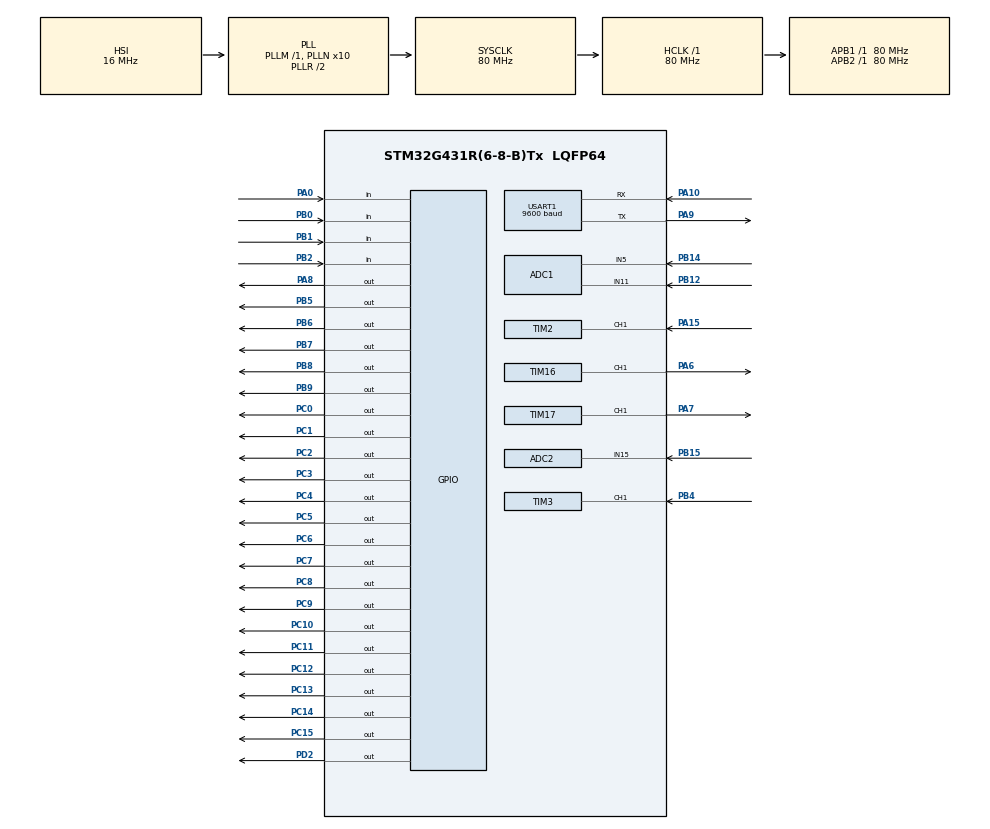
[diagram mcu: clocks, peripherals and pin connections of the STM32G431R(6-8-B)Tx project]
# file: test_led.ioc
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ADC1.Channel-0\#ChannelRegularConversion=ADC_CHANNEL_5
ADC1.Channel-1\#ChannelRegularConversion=ADC_CHANNEL_11
ADC1.NbrOfConversion=2
ADC1.NbrOfConversionFlag=1
ADC1.OffsetNumber-0\#ChannelRegularConversion=ADC_OFFSET_NONE
ADC1.OffsetNumber-1\#ChannelRegularConversion=ADC_OFFSET_NONE
ADC1.Rank-0\#ChannelRegularConversion=1
ADC1.Rank-1\#ChannelRegularConversion=2
ADC1.SamplingTime-0\#ChannelRegularConversion=ADC_SAMPLETIME_640CYCLES_5
ADC1.SamplingTime-1\#ChannelRegularConversion=ADC_SAMPLETIME_640CYCLES_5
ADC1.master=1
ADC2.Channel-0\#ChannelRegularConversion=ADC_CHANNEL_15
ADC2.NbrOfConversionFlag=1
ADC2.OffsetNumber-0\#ChannelRegularConversion=ADC_OFFSET_NONE
ADC2.Rank-0\#ChannelRegularConversion=1
ADC2.SamplingTime-0\#ChannelRegularConversion=ADC_SAMPLETIME_2CYCLES_5
Mcu.Family=STM32G4
Mcu.Name=STM32G431R(6-8-B)Tx
Mcu.Package=LQFP64
NVIC.PriorityGroup=NVIC_PRIORITYGROUP_4
NVIC.TIM2_IRQn=true\:2\:0\:true\:false\:true\:true\:true\:true
NVIC.TIM3_IRQn=true\:2\:0\:true\:false\:true\:true\:true\:true
NVIC.TIM6_DAC_IRQn=true\:5\:0\:true\:false\:true\:true\:true\:true
NVIC.USART1_IRQn=true\:1\:0\:true\:false\:true\:true\:true\:true
PA0.GPIO_PuPd=GPIO_PULLUP
PA0.Signal=GPIO_Input
PA10.Mode=Asynchronous
PA10.Signal=USART1_RX
PA13.Mode=Serial_Wire
PA13.Signal=SYS_JTMS-SWDIO
PA14.Mode=Serial_Wire
PA14.Signal=SYS_JTCK-SWCLK
PA15.GPIO_PuPd=GPIO_PULLDOWN
PA15.Signal=S_TIM2_CH1
PA6.Signal=S_TIM16_CH1
PA7.Signal=S_TIM17_CH1
PA8.Signal=GPIO_Output
PA9.Mode=Asynchronous
PA9.Signal=USART1_TX
PB0.GPIO_PuPd=GPIO_PULLUP
PB0.Signal=GPIO_Input
PB1.GPIO_PuPd=GPIO_PULLUP
PB1.Signal=GPIO_Input
PB12.Mode=IN11-Single-Ended
PB12.Signal=ADC1_IN11
PB14.Mode=IN5-Single-Ended
PB14.Signal=ADC1_IN5
PB15.Mode=IN15-Single-Ended
PB15.Signal=ADC2_IN15
PB2.GPIO_PuPd=GPIO_PULLUP
PB2.Signal=GPIO_Input
PB4.Signal=S_TIM3_CH1
PB5.Signal=GPIO_Output
PB6.Signal=GPIO_Output
PB7.Signal=GPIO_Output
PB8-BOOT0.Signal=GPIO_Output
PB9.Signal=GPIO_Output
PC0.Signal=GPIO_Output
PC1.Signal=GPIO_Output
PC10.GPIO_PuPd=GPIO_NOPULL
PC10.PinState=GPIO_PIN_SET
PC10.Signal=GPIO_Output
PC11.GPIO_PuPd=GPIO_NOPULL
PC11.PinState=GPIO_PIN_SET
PC11.Signal=GPIO_Output
PC12.GPIO_PuPd=GPIO_NOPULL
PC12.PinState=GPIO_PIN_SET
PC12.Signal=GPIO_Output
PC13.GPIO_PuPd=GPIO_NOPULL
PC13.PinState=GPIO_PIN_SET
PC13.Signal=GPIO_Output
PC14-OSC32_IN.GPIO_PuPd=GPIO_NOPULL
PC14-OSC32_IN.PinState=GPIO_PIN_SET
PC14-OSC32_IN.Signal=GPIO_Output
PC15-OSC32_OUT.GPIO_PuPd=GPIO_NOPULL
PC15-OSC32_OUT.PinState=GPIO_PIN_SET
PC15-OSC32_OUT.Signal=GPIO_Output
PC2.Signal=GPIO_Output
PC3.Signal=GPIO_Output
PC4.Signal=GPIO_Output
PC5.Signal=GPIO_Output
PC6.Signal=GPIO_Output
PC7.Signal=GPIO_Output
PC8.GPIO_PuPd=GPIO_NOPULL
PC8.PinState=GPIO_PIN_SET
PC8.Signal=GPIO_Output
PC9.GPIO_PuPd=GPIO_NOPULL
PC9.PinState=GPIO_PIN_SET
PC9.Signal=GPIO_Output
PD2.GPIO_PuPd=GPIO_NOPULL
PD2.Signal=GPIO_Output
PF0-OSC_IN.Mode=HSE-External-Oscillator
PF0-OSC_IN.Signal=RCC_OSC_IN
PF1-OSC_OUT.Mode=HSE-External-Oscillator
PF1-OSC_OUT.Signal=RCC_OSC_OUT
ProjectManager.HeapSize=0x200
ProjectManager.StackSize=0x400
ProjectManager.TargetToolchain=MDK-ARM V5.32
RCC.ADC12Freq_Value=80000000
RCC.AHBFreq_Value=80000000
RCC.APB1Freq_Value=80000000
RCC.APB1TimFreq_Value=80000000
RCC.APB2Freq_Value=80000000
RCC.APB2TimFreq_Value=80000000
RCC.CortexFreq_Value=80000000
RCC.EXTERNAL_CLOCK_VALUE=12288000
RCC.HCLKFreq_Value=80000000
RCC.HSE_VALUE=24000000
RCC.HSI48_VALUE=48000000
RCC.HSI_VALUE=16000000
RCC.LSE_VALUE=32768
RCC.PLLN=10
RCC.SYSCLKFreq_VALUE=80000000
RCC.SYSCLKSource=RCC_SYSCLKSOURCE_PLLCLK
RCC.USBFreq_Value=80000000
RCC.VCOOutputFreq_Value=160000000
RTC.AsynchPrediv=40-1
RTC.Date=26
RTC.Hours=17
RTC.Month=RTC_MONTH_FEBRUARY
RTC.SynchPrediv=1000-1
RTC.Year=24
SH.S_TIM16_CH1.0=TIM16_CH1,PWM Generation1 CH1
SH.S_TIM17_CH1.0=TIM17_CH1,PWM Generation1 CH1
SH.S_TIM2_CH1.0=TIM2_CH1,Input_Capture1_from_TI1
SH.S_TIM2_CH1.1=TIM2_CH1
SH.S_TIM3_CH1.0=TIM3_CH1,Input_Capture1_from_TI1
SH.S_TIM3_CH1.1=TIM3_CH1
TIM16.Channel=TIM_CHANNEL_1
TIM16.PeriodNoDither=100-1
TIM16.Prescaler=8000-1
TIM17.Channel=TIM_CHANNEL_1
TIM17.PeriodNoDither=100-1
TIM17.Prescaler=4000-1
TIM2.AutoReloadPreload=TIM_AUTORELOAD_PRELOAD_ENABLE
TIM2.Channel-Input_Capture1_from_TI1=TIM_CHANNEL_1
TIM2.Channel-Input_Capture2_from_TI1_63=TIM_CHANNEL_2
TIM2.ICPolarity_CH2=TIM_INPUTCHANNELPOLARITY_FALLING
TIM2.PeriodNoDither=0xffffffff
TIM2.Prescaler=80-1
TIM3.AutoReloadPreload=TIM_AUTORELOAD_PRELOAD_ENABLE
TIM3.Channel-Input_Capture1_from_TI1=TIM_CHANNEL_1
TIM3.Channel-Input_Capture2_from_TI1_63=TIM_CHANNEL_2
TIM3.ICPolarity_CH2=TIM_INPUTCHANNELPOLARITY_FALLING
TIM3.PeriodNoDither=0xffff
TIM3.Prescaler=80-1
TIM6.PeriodNoDither=10000-1
TIM6.Prescaler=80-1
USART1.BaudRate=9600
USART1.VirtualMode-Asynchronous=VM_ASYNC
VP_RTC_VS_RTC_Activate.Mode=RTC_Enabled
VP_RTC_VS_RTC_Calendar.Mode=RTC_Calendar
VP_SYS_VS_DBSignals.Mode=DisableDeadBatterySignals
VP_TIM16_VS_ClockSourceINT.Mode=Enable_Timer
VP_TIM17_VS_ClockSourceINT.Mode=Enable_Timer
VP_TIM2_VS_ClockSourceINT.Mode=Internal
VP_TIM2_VS_indirect_ch1.Mode=Input_Capture2_from_TI1_63
VP_TIM3_VS_ClockSourceINT.Mode=Internal
VP_TIM3_VS_indirect_ch1.Mode=Input_Capture2_from_TI1_63
VP_TIM6_VS_ClockSourceINT.Mode=Enable_Timer
board=custom

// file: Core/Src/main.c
/* USER CODE BEGIN Header */
/**
 ******************************************************************************
 * @file           : main.c
 * @brief          : Main program body
 ******************************************************************************
 * @attention
 *
 * Copyright (c) 2023 STMicroelectronics.
 * All rights reserved.
 *
 * This software is licensed under terms that can be found in the LICENSE file
 * in the root directory of this software component.
 * If no LICENSE file comes with this software, it is provided AS-IS.
 *
 ******************************************************************************
 */
/* USER CODE END Header */
#include "main.h"
#include "adc.h"
#include "rtc.h"
#include "tim.h"
#include "usart.h"
#include "gpio.h"

/* USER CODE BEGIN Includes */
#include "led.h"
#include "lcd.h"
#include "stdio.h"
#include "interrupt.h"
#include "bsp_adc.h"
#include "i2c_hal.h"
#include "string.h"
/* USER CODE END Includes */

/* USER CODE BEGIN PV */
RTC_TimeTypeDef s_time;
RTC_DateTypeDef s_date;

uint32_t i_text = 5;
char view_flag = 0;
uint8_t resist_val = 0;

// pwm占空比
uint8_t pa6_duty = 10;
uint8_t pa7_duty = 10;

struct car car[1];
/* USER CODE END PV */

void SystemClock_Config(void);
/* USER CODE BEGIN PFP */
void key_process();
void disp_process();
void data_tx();
void data_rx();
void rtc_process();
void adc_process();
/* USER CODE END PFP */

int main(void)
{

  /* MCU Configuration--------------------------------------------------------*/

  /* Reset of all peripherals, Initializes the Flash interface and the Systick. */
  HAL_Init();

  /* Configure the system clock */
  SystemClock_Config();

  /* Initialize all configured peripherals */
  MX_GPIO_Init();
  MX_TIM3_Init();
  MX_TIM16_Init();
  MX_TIM17_Init();
  MX_TIM2_Init();
  MX_TIM6_Init();
  MX_ADC1_Init();
  MX_ADC2_Init();
  MX_USART1_UART_Init();
  MX_RTC_Init();
  /* USER CODE BEGIN 2 */

  HAL_ADCEx_Calibration_Start(&hadc1, ADC_SINGLE_ENDED);
  HAL_ADCEx_Calibration_Start(&hadc2, ADC_SINGLE_ENDED);

  led_disp(0x00); // led初始化
  LCD_Init();     // lcd屏幕初始化

  // 清除LCD屏幕上的内容
  LCD_Clear(Black);
  // 设置LCD屏幕上的背景颜色
  LCD_SetBackColor(Black);
  // 设置LCD屏幕上的文字颜色
  LCD_SetTextColor(White);

  // 使能定时器中断
  HAL_TIM_Base_Start_IT(&htim6);
  // 使能定时器PWM输出
  HAL_TIM_PWM_Start(&htim16, TIM_CHANNEL_1);
  HAL_TIM_PWM_Start(&htim17, TIM_CHANNEL_1);
  // 使能定时器输入捕获中断
  HAL_TIM_IC_Start_IT(&htim2, TIM_CHANNEL_1);
  HAL_TIM_IC_Start_IT(&htim3, TIM_CHANNEL_1);
  // 使能串口接收中断
  HAL_UART_Receive_IT(&huart1, &rx_buffer, 1);

  mcp4017_write(0x0d);
  /* USER CODE END 2 */

  /* Infinite loop */
  while (1)
  {

    /* USER CODE BEGIN 3 */

    key_process();
    disp_process();
    rtc_process();
    __HAL_TIM_SET_COMPARE(&htim16, TIM_CHANNEL_1, pa6_duty);
    __HAL_TIM_SET_COMPARE(&htim17, TIM_CHANNEL_1, pa7_duty);

    // data_tx();
    if (rx_ptr != 0)
    {
      uint8_t temp = rx_ptr;
      HAL_Delay(1);
      if (temp == rx_ptr)
      {
        data_rx();
      }
    }

    //   uint8_t led_values[] = {0x01, 0x02, 0x04, 0x08, 0x10, 0x20, 0x40, 0x80};
    //   // 遍历led_values数组，将每一个值传入led_disp函数，每次循环延迟500ms
    //   for (int i = 0; i < 8; i++)
    //   {
    //     led_disp(led_values[i]);
    //     HAL_Delay(500);
    //     led_disp(0x00);
    //     HAL_Delay(500);
    //   }
  }
  /* USER CODE END 3 */
}

void SystemClock_Config(void)
{
  RCC_OscInitTypeDef RCC_OscInitStruct = {0};
  RCC_ClkInitTypeDef RCC_ClkInitStruct = {0};

  /** Configure the main internal regulator output voltage
   */
  HAL_PWREx_ControlVoltageScaling(PWR_REGULATOR_VOLTAGE_SCALE1);

  /** Initializes the RCC Oscillators according to the specified parameters
   * in the RCC_OscInitTypeDef structure.
   */
  RCC_OscInitStruct.OscillatorType = RCC_OSCILLATORTYPE_HSI | RCC_OSCILLATORTYPE_LSI;
  RCC_OscInitStruct.HSIState = RCC_HSI_ON;
  RCC_OscInitStruct.HSICalibrationValue = RCC_HSICALIBRATION_DEFAULT;
  RCC_OscInitStruct.LSIState = RCC_LSI_ON;
  RCC_OscInitStruct.PLL.PLLState = RCC_PLL_ON;
  RCC_OscInitStruct.PLL.PLLSource = RCC_PLLSOURCE_HSI;
  RCC_OscInitStruct.PLL.PLLM = RCC_PLLM_DIV1;
  RCC_OscInitStruct.PLL.PLLN = 10;
  RCC_OscInitStruct.PLL.PLLP = RCC_PLLP_DIV2;
  RCC_OscInitStruct.PLL.PLLQ = RCC_PLLQ_DIV2;
  RCC_OscInitStruct.PLL.PLLR = RCC_PLLR_DIV2;
  if (HAL_RCC_OscConfig(&RCC_OscInitStruct) != HAL_OK)
  {
    Error_Handler();
  }

  /** Initializes the CPU, AHB and APB buses clocks
   */
  RCC_ClkInitStruct.ClockType = RCC_CLOCKTYPE_HCLK | RCC_CLOCKTYPE_SYSCLK | RCC_CLOCKTYPE_PCLK1 | RCC_CLOCKTYPE_PCLK2;
  RCC_ClkInitStruct.SYSCLKSource = RCC_SYSCLKSOURCE_PLLCLK;
  RCC_ClkInitStruct.AHBCLKDivider = RCC_SYSCLK_DIV1;
  RCC_ClkInitStruct.APB1CLKDivider = RCC_HCLK_DIV1;
  RCC_ClkInitStruct.APB2CLKDivider = RCC_HCLK_DIV1;

  if (HAL_RCC_ClockConfig(&RCC_ClkInitStruct, FLASH_LATENCY_2) != HAL_OK)
  {
    Error_Handler();
  }
}

/* USER CODE BEGIN 4 */
void adc_process(void)
{
  adc.v_mcp = get_adc(&hadc1);
  adc.v1 = get_adc(&hadc1);
  adc.v2 = get_adc(&hadc2);
}

void rtc_process()
{
  if (HAL_RTC_GetTime(&hrtc, &s_time, RTC_FORMAT_BCD) != HAL_OK)
  {
    Error_Handler();
  }
  if (HAL_RTC_GetDate(&hrtc, &s_date, RTC_FORMAT_BCD) != HAL_OK)
  {
    Error_Handler();
  }
}
// 串口数据发送
void data_tx()
{
  char temp[20];
  sprintf(temp, "frq=%d\r\n", pwm_capture[0].frq);
  HAL_UART_Transmit(&huart1, (uint8_t *)temp, sizeof(temp), 50);
}
// 串口数据接收
void data_rx()
{
  // 判断接收到数据
  if (rx_ptr > 0)
  {
    if (rx_ptr == 22)
    {
      sscanf(rx_data, "%4s:%4s:%12s", car[0].type, car[0].data, car[0].time);
    }
    else
    {
      // 输出Error
      char temp[20];
      sprintf(temp, "Error\r\n");
      HAL_UART_Transmit(&huart1, (uint8_t *)temp, sizeof(temp), 50);
    }
    rx_ptr = 0;
    memset(rx_data, 0, sizeof(rx_data));
  }
}

// 按键 B2、B3 仅在参数显示界面有效。
//   1) B1:定义为“界面切换”按键，切换 LCD 显示“数据界面”和参数界面。
//  2) B2:每次按下 B2 按键，PA6 手动模式占空比参数加 10%，占空比可调整范围
//  10% - 90%，占空比参数增加到 90%后，再次按下 B2 按键，返回 10%。
//  3) B3:每次按下 B3 按键，PA7 手动模式占空比参数加 10%，占空比可调整范围
//  10% - 90%，占空比参数增加到 90%后，再次按下 B3 按键，返回 10%。

// key0切换菜单
void key_process()
{
  // key0切换菜单
  if (key[0].sigle_flag == 1)
  {
    view_flag++;
    if (view_flag == 4)
    {
      view_flag = 0;
    }
    LCD_Clear(Black);
    // __HAL_TIM_SET_AUTORELOAD(&htim6, 500-1);//period
    // __HAL_TIM_SET_COMPARE(&htim6, TIM_CHANNEL_1, 50);//pulse
    key[0].sigle_flag = 0;
  }

  { // key1增加pa6占空比
    if (key[1].sigle_flag == 1)
    {
      if (view_flag == 1)
      {
        if (pa6_duty < 90)
        {
          pa6_duty += 10;
        }
        else
        {
          pa6_duty = 10;
        }
      }
      key[1].sigle_flag = 0;
    }
    // B3:每次按下 B3 按键，PA7 手动模式占空比参数加 10%，占空比可调整范围
    if (key[2].sigle_flag == 1)
    {
      if (view_flag == 1)
      {
        if (pa7_duty < 90)
        {
          pa7_duty += 10;
        }
        else
        {
          pa7_duty = 10;
        }
      }
      key[2].sigle_flag = 0;
    }
  }

  if (key[3].sigle_flag == 1)
  {
    if (view_flag == 0)
    {
      uint8_t frq_h = pwm_capture[0].frq >> 8;
      uint8_t frq_l = pwm_capture[0].frq & 0xff;
      eeprom_write(1, frq_h);
      HAL_Delay(10);
      eeprom_write(2, frq_l);
    }
    key[3].sigle_flag = 0;
  }
}

void disp_process()
{

  if (view_flag == 0)
  {
    adc_process();
    char text[30];
    sprintf(text, "       Data    ");
    LCD_DisplayStringLine(Line0, (uint8_t *)text);
    // pwm 1
    sprintf(text, "    FRQ1:%dHz    ", pwm_capture[0].frq);
    LCD_DisplayStringLine(Line2, (uint8_t *)text);
    sprintf(text, "    DUTY1:%.2f%%    ", pwm_capture[0].duty * 100);
    LCD_DisplayStringLine(Line3, (uint8_t *)text);
    // pwm 2
    sprintf(text, "    FRQ2:%dHz    ", pwm_capture[1].frq);
    LCD_DisplayStringLine(Line4, (uint8_t *)text);
    sprintf(text, "    DUTY2:%.2f%%    ", pwm_capture[1].duty * 100);
    LCD_DisplayStringLine(Line5, (uint8_t *)text);
    // adc
    sprintf(text, "    V1:%.2fV    ", adc.v1);
    LCD_DisplayStringLine(Line6, (uint8_t *)text);
    sprintf(text, "    V2:%.2fV    ", adc.v2);
    LCD_DisplayStringLine(Line7, (uint8_t *)text);
    // i2c eeprom
    uint16_t eeprom_data = (eeprom_read(1) << 8) | eeprom_read(2);
    sprintf(text, "    FRQ_eep:=%d    ", eeprom_data);
    LCD_DisplayStringLine(Line8, (uint8_t *)text);
    // mcp4017
    sprintf(text, "    MCP4017:%.2fV    ", adc.v_mcp);
    LCD_DisplayStringLine(Line9, (uint8_t *)text);
  }
  else if (view_flag == 1)
  {
    adc_process();

    // pwm占空比
    char text[30];
    sprintf(text, "       Para    ");
    LCD_DisplayStringLine(Line0, (uint8_t *)text);
    sprintf(text, "    PA6:%d%%    ", pa6_duty);
    LCD_DisplayStringLine(Line2, (uint8_t *)text);
    sprintf(text, "    PA7:%d%%    ", pa7_duty);
    LCD_DisplayStringLine(Line3, (uint8_t *)text);

    // MCP4017 : 可编程电阻测试
    resist_val = mcp4017_read();
    sprintf(text, "       MCP4017    ");
    LCD_DisplayStringLine(Line5, (uint8_t *)text);
    sprintf(text, "   Rx=%x Rwb=%5.2f  ", resist_val, 0.7874f * resist_val);
    LCD_DisplayStringLine(Line6, (uint8_t *)text);
    sprintf(text, "   U=%3.3f ", 3.3 * ((0.7874f * resist_val) / (0.7874f * resist_val + 10)));
    LCD_DisplayStringLine(Line7, (uint8_t *)text);
    // mcp4017
    sprintf(text, "   Real:%.2fV   ", adc.v_mcp);
    LCD_DisplayStringLine(Line8, (uint8_t *)text);
  }
  else if (view_flag == 2)
  {
    char text[30];
    sprintf(text, "       Car    ");
    LCD_DisplayStringLine(Line0, (uint8_t *)text);
    sprintf(text, "   type:%s    ", car[0].type);
    LCD_DisplayStringLine(Line2, (uint8_t *)text);
    sprintf(text, "   data:%s    ", car[0].data);
    LCD_DisplayStringLine(Line4, (uint8_t *)text);
    sprintf(text, "   time:%s    ", car[0].time);
    LCD_DisplayStringLine(Line6, (uint8_t *)text);
  }
  if (view_flag == 3)
  {
    // rtc
    char text[30];
    sprintf(text, "       RTC    ");
    LCD_DisplayStringLine(Line0, (uint8_t *)text);
    sprintf(text, "    %02x:%02x:%02x    ", s_time.Hours, s_time.Minutes, s_time.Seconds);
    LCD_DisplayStringLine(Line2, (uint8_t *)text);
    sprintf(text, "    %02x-%02x-%02x    ", s_date.Year, s_date.Month, s_date.Date);
    LCD_DisplayStringLine(Line4, (uint8_t *)text);
  }
}
/* USER CODE END 4 */

void Error_Handler(void)
{
  __disable_irq();
  while (1)
  {
  }
}
